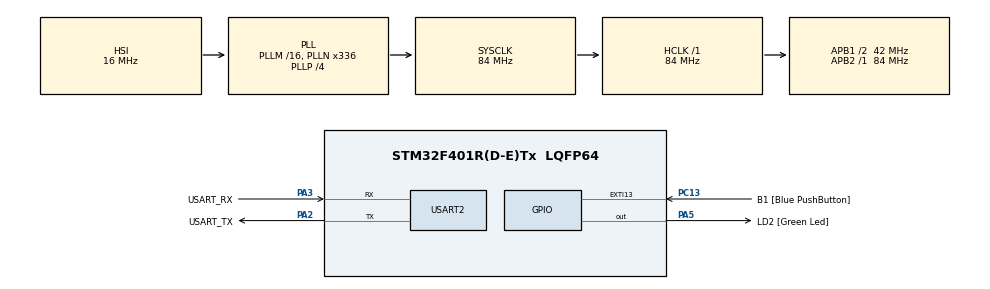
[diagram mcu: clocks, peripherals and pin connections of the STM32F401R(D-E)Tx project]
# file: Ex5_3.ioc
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Mcu.Family=STM32F4
Mcu.Name=STM32F401R(D-E)Tx
Mcu.Package=LQFP64
NVIC.PriorityGroup=NVIC_PRIORITYGROUP_0
NVIC.TIM2_IRQn=true\:0\:0\:false\:false\:true\:true\:true\:true
PA13.GPIO_Label=TMS
PA13.Mode=Serial_Wire
PA13.Signal=SYS_JTMS-SWDIO
PA14.GPIO_Label=TCK
PA14.Mode=Serial_Wire
PA14.Signal=SYS_JTCK-SWCLK
PA2.GPIO_Label=USART_TX
PA2.GPIO_Mode=GPIO_MODE_AF_PP
PA2.GPIO_PuPd=GPIO_NOPULL
PA2.GPIO_Speed=GPIO_SPEED_FREQ_LOW
PA2.Mode=Asynchronous
PA2.Signal=USART2_TX
PA3.GPIO_Label=USART_RX
PA3.GPIO_Mode=GPIO_MODE_AF_PP
PA3.GPIO_PuPd=GPIO_NOPULL
PA3.GPIO_Speed=GPIO_SPEED_FREQ_LOW
PA3.Mode=Asynchronous
PA3.Signal=USART2_RX
PA5.GPIO_Label=LD2 [Green Led]
PA5.GPIO_Mode=GPIO_MODE_OUTPUT_PP
PA5.GPIO_PuPd=GPIO_NOPULL
PA5.GPIO_Speed=GPIO_SPEED_FREQ_LOW
PA5.Signal=GPIO_Output
PB3.GPIO_Label=SWO
PB3.Signal=SYS_JTDO-SWO
PC13-ANTI_TAMP.GPIO_Label=B1 [Blue PushButton]
PC13-ANTI_TAMP.GPIO_ModeDefaultEXTI=GPIO_MODE_IT_FALLING
PC13-ANTI_TAMP.GPIO_PuPd=GPIO_NOPULL
PC13-ANTI_TAMP.Signal=GPXTI13
PC14-OSC32_IN.Mode=LSE-External-Oscillator
PC14-OSC32_IN.Signal=RCC_OSC32_IN
PC15-OSC32_OUT.Mode=LSE-External-Oscillator
PC15-OSC32_OUT.Signal=RCC_OSC32_OUT
PH0\ -\ OSC_IN.Mode=HSE-External-Clock-Source
PH0\ -\ OSC_IN.Signal=RCC_OSC_IN
PH1\ -\ OSC_OUT.Mode=HSE-External-Clock-Source
PH1\ -\ OSC_OUT.Signal=RCC_OSC_OUT
ProjectManager.HeapSize=0x200
ProjectManager.StackSize=0x400
ProjectManager.TargetToolchain=STM32CubeIDE
RCC.48MHZClocksFreq_Value=48000000
RCC.AHBFreq_Value=84000000
RCC.APB1CLKDivider=RCC_HCLK_DIV2
RCC.APB1Freq_Value=42000000
RCC.APB1TimFreq_Value=84000000
RCC.APB2Freq_Value=84000000
RCC.APB2TimFreq_Value=84000000
RCC.CortexFreq_Value=84000000
RCC.HCLKFreq_Value=84000000
RCC.HSE_VALUE=8000000
RCC.HSI_VALUE=16000000
RCC.PLLN=336
RCC.PLLP=RCC_PLLP_DIV4
RCC.PLLQ=7
RCC.SYSCLKFreq_VALUE=84000000
RCC.SYSCLKSource=RCC_SYSCLKSOURCE_PLLCLK
RCC.VCOOutputFreq_Value=336000000
TIM2.Period=9999
TIM2.Prescaler=8400
TIM2.TIM_MasterOutputTrigger=TIM_TRGO_UPDATE
TIM2.TIM_MasterSlaveMode=TIM_MASTERSLAVEMODE_ENABLE
TIM3.Period=59
TIM3.TIM_MasterOutputTrigger=TIM_TRGO_UPDATE
TIM3.TIM_MasterSlaveMode=TIM_MASTERSLAVEMODE_ENABLE
TIM4.Period=59
TIM4.TIM_MasterOutputTrigger=TIM_TRGO_UPDATE
TIM4.TIM_MasterSlaveMode=TIM_MASTERSLAVEMODE_ENABLE
TIM5.Period=23
USART2.VirtualMode=VM_ASYNC
VP_TIM2_VS_ClockSourceINT.Mode=Internal
VP_TIM3_VS_ClockSourceITR.Mode=TriggerSource_ITR1
VP_TIM3_VS_ControllerModeClock.Mode=Clock Mode
VP_TIM4_VS_ClockSourceITR.Mode=TriggerSource_ITR2
VP_TIM4_VS_ControllerModeClock.Mode=Clock Mode
VP_TIM5_VS_ClockSourceITR.Mode=TriggerSource_ITR2
VP_TIM5_VS_ControllerModeClock.Mode=Clock Mode
board=NUCLEO-F401RE

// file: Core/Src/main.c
/* USER CODE BEGIN Header */
/**
  ******************************************************************************
  * @file           : main.c
  * @brief          : Main program body
  ******************************************************************************
  * @attention
  *
  * Copyright (c) 2026 STMicroelectronics.
  * All rights reserved.
  *
  * This software is licensed under terms that can be found in the LICENSE file
  * in the root directory of this software component.
  * If no LICENSE file comes with this software, it is provided AS-IS.
  *
  ******************************************************************************
  */
/* USER CODE END Header */
#include "main.h"

/* USER CODE BEGIN Includes */
#include <stdio.h>
/* USER CODE END Includes */

TIM_HandleTypeDef htim2;
TIM_HandleTypeDef htim3;
TIM_HandleTypeDef htim4;
TIM_HandleTypeDef htim5;

UART_HandleTypeDef huart2;

/* USER CODE BEGIN PV */
uint16_t sec = 0; 	// second
uint16_t min = 0;	// minute
uint16_t hour = 0;	// hour
/* USER CODE END PV */

void SystemClock_Config(void);
static void MX_GPIO_Init(void);
static void MX_USART2_UART_Init(void);
static void MX_TIM2_Init(void);
static void MX_TIM3_Init(void);
static void MX_TIM4_Init(void);
static void MX_TIM5_Init(void);

int main(void)
{

  /* MCU Configuration--------------------------------------------------------*/

  /* Reset of all peripherals, Initializes the Flash interface and the Systick. */
  HAL_Init();

  /* Configure the system clock */
  SystemClock_Config();

  /* Initialize all configured peripherals */
  MX_GPIO_Init();
  MX_USART2_UART_Init();
  MX_TIM2_Init();
  MX_TIM3_Init();
  MX_TIM4_Init();
  MX_TIM5_Init();
  /* USER CODE BEGIN 2 */
  __HAL_TIM_SET_COUNTER(&htim3, 55);
  __HAL_TIM_SET_COUNTER(&htim4, 59);
  __HAL_TIM_SET_COUNTER(&htim5, 23);

  HAL_TIM_Base_Start_IT(&htim2);
  HAL_TIM_Base_Start(&htim3);
  HAL_TIM_Base_Start(&htim4);
  HAL_TIM_Base_Start(&htim5);

  HAL_Delay(1000);
  printf("Watch App. is started\r\n");
  /* USER CODE END 2 */

  /* Infinite loop */
  while (1)
  {

  }
}

void SystemClock_Config(void)
{
  RCC_OscInitTypeDef RCC_OscInitStruct = {0};
  RCC_ClkInitTypeDef RCC_ClkInitStruct = {0};

  /** Configure the main internal regulator output voltage
  */
  __HAL_RCC_PWR_CLK_ENABLE();
  __HAL_PWR_VOLTAGESCALING_CONFIG(PWR_REGULATOR_VOLTAGE_SCALE2);

  /** Initializes the RCC Oscillators according to the specified parameters
  * in the RCC_OscInitTypeDef structure.
  */
  RCC_OscInitStruct.OscillatorType = RCC_OSCILLATORTYPE_HSI;
  RCC_OscInitStruct.HSIState = RCC_HSI_ON;
  RCC_OscInitStruct.HSICalibrationValue = RCC_HSICALIBRATION_DEFAULT;
  RCC_OscInitStruct.PLL.PLLState = RCC_PLL_ON;
  RCC_OscInitStruct.PLL.PLLSource = RCC_PLLSOURCE_HSI;
  RCC_OscInitStruct.PLL.PLLM = 16;
  RCC_OscInitStruct.PLL.PLLN = 336;
  RCC_OscInitStruct.PLL.PLLP = RCC_PLLP_DIV4;
  RCC_OscInitStruct.PLL.PLLQ = 7;
  if (HAL_RCC_OscConfig(&RCC_OscInitStruct) != HAL_OK)
  {
    Error_Handler();
  }

  /** Initializes the CPU, AHB and APB buses clocks
  */
  RCC_ClkInitStruct.ClockType = RCC_CLOCKTYPE_HCLK|RCC_CLOCKTYPE_SYSCLK
                              |RCC_CLOCKTYPE_PCLK1|RCC_CLOCKTYPE_PCLK2;
  RCC_ClkInitStruct.SYSCLKSource = RCC_SYSCLKSOURCE_PLLCLK;
  RCC_ClkInitStruct.AHBCLKDivider = RCC_SYSCLK_DIV1;
  RCC_ClkInitStruct.APB1CLKDivider = RCC_HCLK_DIV2;
  RCC_ClkInitStruct.APB2CLKDivider = RCC_HCLK_DIV1;

  if (HAL_RCC_ClockConfig(&RCC_ClkInitStruct, FLASH_LATENCY_2) != HAL_OK)
  {
    Error_Handler();
  }
}

static void MX_TIM2_Init(void)
{

  TIM_ClockConfigTypeDef sClockSourceConfig = {0};
  TIM_MasterConfigTypeDef sMasterConfig = {0};

  htim2.Instance = TIM2;
  htim2.Init.Prescaler = 8400;
  htim2.Init.CounterMode = TIM_COUNTERMODE_UP;
  htim2.Init.Period = 9999;
  htim2.Init.ClockDivision = TIM_CLOCKDIVISION_DIV1;
  htim2.Init.AutoReloadPreload = TIM_AUTORELOAD_PRELOAD_DISABLE;
  if (HAL_TIM_Base_Init(&htim2) != HAL_OK)
  {
    Error_Handler();
  }
  sClockSourceConfig.ClockSource = TIM_CLOCKSOURCE_INTERNAL;
  if (HAL_TIM_ConfigClockSource(&htim2, &sClockSourceConfig) != HAL_OK)
  {
    Error_Handler();
  }
  sMasterConfig.MasterOutputTrigger = TIM_TRGO_UPDATE;
  sMasterConfig.MasterSlaveMode = TIM_MASTERSLAVEMODE_ENABLE;
  if (HAL_TIMEx_MasterConfigSynchronization(&htim2, &sMasterConfig) != HAL_OK)
  {
    Error_Handler();
  }

}

static void MX_TIM3_Init(void)
{

  TIM_SlaveConfigTypeDef sSlaveConfig = {0};
  TIM_MasterConfigTypeDef sMasterConfig = {0};

  htim3.Instance = TIM3;
  htim3.Init.Prescaler = 0;
  htim3.Init.CounterMode = TIM_COUNTERMODE_UP;
  htim3.Init.Period = 59;
  htim3.Init.ClockDivision = TIM_CLOCKDIVISION_DIV1;
  htim3.Init.AutoReloadPreload = TIM_AUTORELOAD_PRELOAD_DISABLE;
  if (HAL_TIM_Base_Init(&htim3) != HAL_OK)
  {
    Error_Handler();
  }
  sSlaveConfig.SlaveMode = TIM_SLAVEMODE_EXTERNAL1;
  sSlaveConfig.InputTrigger = TIM_TS_ITR1;
  if (HAL_TIM_SlaveConfigSynchro(&htim3, &sSlaveConfig) != HAL_OK)
  {
    Error_Handler();
  }
  sMasterConfig.MasterOutputTrigger = TIM_TRGO_UPDATE;
  sMasterConfig.MasterSlaveMode = TIM_MASTERSLAVEMODE_ENABLE;
  if (HAL_TIMEx_MasterConfigSynchronization(&htim3, &sMasterConfig) != HAL_OK)
  {
    Error_Handler();
  }

}

static void MX_TIM4_Init(void)
{

  TIM_SlaveConfigTypeDef sSlaveConfig = {0};
  TIM_MasterConfigTypeDef sMasterConfig = {0};

  htim4.Instance = TIM4;
  htim4.Init.Prescaler = 0;
  htim4.Init.CounterMode = TIM_COUNTERMODE_UP;
  htim4.Init.Period = 59;
  htim4.Init.ClockDivision = TIM_CLOCKDIVISION_DIV1;
  htim4.Init.AutoReloadPreload = TIM_AUTORELOAD_PRELOAD_DISABLE;
  if (HAL_TIM_Base_Init(&htim4) != HAL_OK)
  {
    Error_Handler();
  }
  sSlaveConfig.SlaveMode = TIM_SLAVEMODE_EXTERNAL1;
  sSlaveConfig.InputTrigger = TIM_TS_ITR2;
  if (HAL_TIM_SlaveConfigSynchro(&htim4, &sSlaveConfig) != HAL_OK)
  {
    Error_Handler();
  }
  sMasterConfig.MasterOutputTrigger = TIM_TRGO_UPDATE;
  sMasterConfig.MasterSlaveMode = TIM_MASTERSLAVEMODE_ENABLE;
  if (HAL_TIMEx_MasterConfigSynchronization(&htim4, &sMasterConfig) != HAL_OK)
  {
    Error_Handler();
  }

}

static void MX_TIM5_Init(void)
{

  TIM_SlaveConfigTypeDef sSlaveConfig = {0};
  TIM_MasterConfigTypeDef sMasterConfig = {0};

  htim5.Instance = TIM5;
  htim5.Init.Prescaler = 0;
  htim5.Init.CounterMode = TIM_COUNTERMODE_UP;
  htim5.Init.Period = 23;
  htim5.Init.ClockDivision = TIM_CLOCKDIVISION_DIV1;
  htim5.Init.AutoReloadPreload = TIM_AUTORELOAD_PRELOAD_DISABLE;
  if (HAL_TIM_Base_Init(&htim5) != HAL_OK)
  {
    Error_Handler();
  }
  sSlaveConfig.SlaveMode = TIM_SLAVEMODE_EXTERNAL1;
  sSlaveConfig.InputTrigger = TIM_TS_ITR2;
  if (HAL_TIM_SlaveConfigSynchro(&htim5, &sSlaveConfig) != HAL_OK)
  {
    Error_Handler();
  }
  sMasterConfig.MasterOutputTrigger = TIM_TRGO_RESET;
  sMasterConfig.MasterSlaveMode = TIM_MASTERSLAVEMODE_DISABLE;
  if (HAL_TIMEx_MasterConfigSynchronization(&htim5, &sMasterConfig) != HAL_OK)
  {
    Error_Handler();
  }

}

static void MX_USART2_UART_Init(void)
{

  huart2.Instance = USART2;
  huart2.Init.BaudRate = 115200;
  huart2.Init.WordLength = UART_WORDLENGTH_8B;
  huart2.Init.StopBits = UART_STOPBITS_1;
  huart2.Init.Parity = UART_PARITY_NONE;
  huart2.Init.Mode = UART_MODE_TX_RX;
  huart2.Init.HwFlowCtl = UART_HWCONTROL_NONE;
  huart2.Init.OverSampling = UART_OVERSAMPLING_16;
  if (HAL_UART_Init(&huart2) != HAL_OK)
  {
    Error_Handler();
  }

}

static void MX_GPIO_Init(void)
{
  GPIO_InitTypeDef GPIO_InitStruct = {0};

  /* GPIO Ports Clock Enable */
  __HAL_RCC_GPIOC_CLK_ENABLE();
  __HAL_RCC_GPIOH_CLK_ENABLE();
  __HAL_RCC_GPIOA_CLK_ENABLE();
  __HAL_RCC_GPIOB_CLK_ENABLE();

  /*Configure GPIO pin Output Level */
  HAL_GPIO_WritePin(LD2_GPIO_Port, LD2_Pin, GPIO_PIN_RESET);

  /*Configure GPIO pin : B1_Pin */
  GPIO_InitStruct.Pin = B1_Pin;
  GPIO_InitStruct.Mode = GPIO_MODE_IT_FALLING;
  GPIO_InitStruct.Pull = GPIO_NOPULL;
  HAL_GPIO_Init(B1_GPIO_Port, &GPIO_InitStruct);

  /*Configure GPIO pin : LD2_Pin */
  GPIO_InitStruct.Pin = LD2_Pin;
  GPIO_InitStruct.Mode = GPIO_MODE_OUTPUT_PP;
  GPIO_InitStruct.Pull = GPIO_NOPULL;
  GPIO_InitStruct.Speed = GPIO_SPEED_FREQ_LOW;
  HAL_GPIO_Init(LD2_GPIO_Port, &GPIO_InitStruct);

}

/* USER CODE BEGIN 4 */
int __io_putchar(int ch)
{
	ITM_SendChar(ch);
	return 0;
}

void HAL_TIM_PeriodElapsedCallback(TIM_HandleTypeDef *htim)
{
	if(htim->Instance == TIM2)
	{
		HAL_GPIO_TogglePin(GPIOA, GPIO_PIN_5);
		sec = __HAL_TIM_GET_COUNTER(&htim3);	// TIM3는 초
		min = __HAL_TIM_GET_COUNTER(&htim4);	// TIM4는 분
		hour = __HAL_TIM_GET_COUNTER(&htim5);	// TIM5는 시
		printf("%02d:%02d:%02d\r", hour, min, sec); // 시간 출력
		fflush(NULL);
	}
}
/* USER CODE END 4 */

void Error_Handler(void)
{
  __disable_irq();
  while (1)
  {
  }
}
